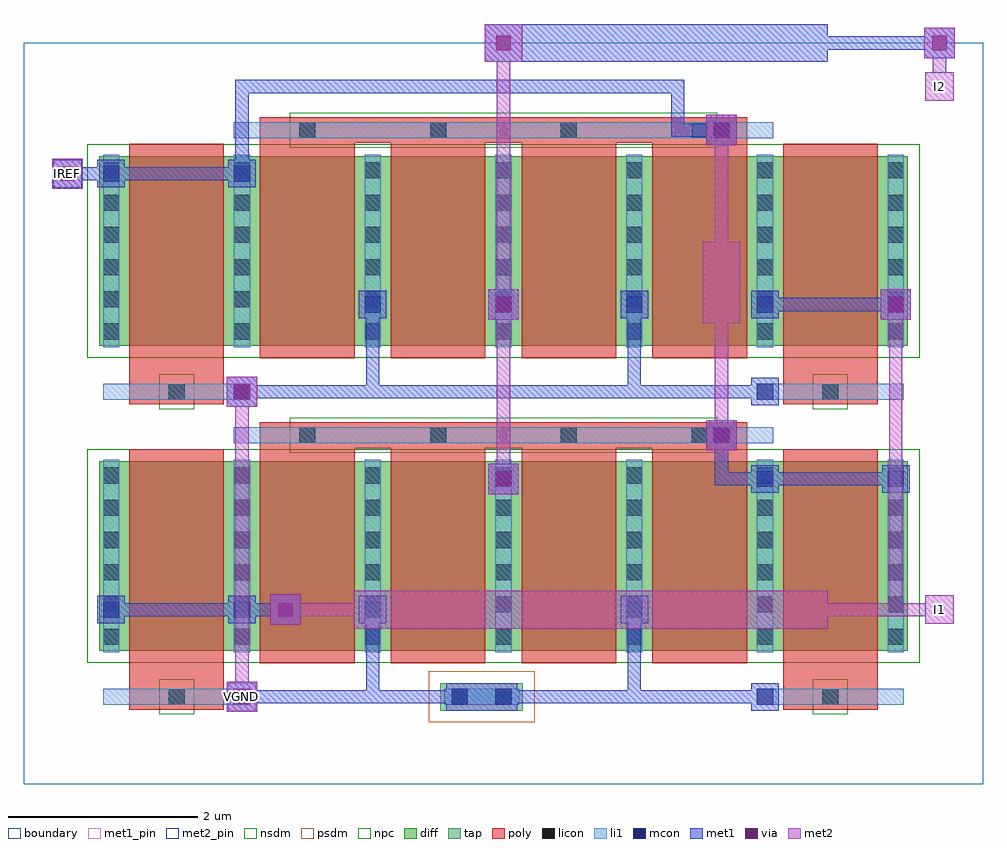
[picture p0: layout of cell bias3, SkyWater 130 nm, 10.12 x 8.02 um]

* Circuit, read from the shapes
.subckt bias3 I1 I2 IREF VGND
XM1 I1 VGND I1 VGND sky130_fd_pr__nfet_01v8 w=2 l=1 m=2
XM2 IREF VGND IREF VGND sky130_fd_pr__nfet_01v8 w=2 l=1 m=2
XM3 VGND IREF I1 VGND sky130_fd_pr__nfet_01v8 w=2 l=1 m=2
XM4 VGND IREF IREF VGND sky130_fd_pr__nfet_01v8 w=2 l=1 m=2
XM5 I2 IREF VGND VGND sky130_fd_pr__nfet_01v8 w=2 l=1 m=4
.ends

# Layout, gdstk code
import gdstk
lib = gdstk.Library(unit=1e-6, precision=1e-09)
def R(c, l, rs):  # rectangles x0, y0, x1, y1
    for r in rs: c.add(gdstk.rectangle(r[:2], r[2:], *l))
def A(c, l, x, y, w, h, nx, ny, dx, dy):  # array of equal rectangles
    R(c, l, [(x+i*dx, y+j*dy, x+i*dx+w, y+j*dy+h) for i in range(nx) for j in range(ny)])
diff = (65, 20)
tap = (65, 44)
poly = (66, 20)
licon = (66, 44)
li1 = (67, 20)
mcon = (67, 44)
met1_pin = (68, 16)
met1 = (68, 20)
via = (68, 44)
met2_pin = (69, 16)
met2 = (69, 20)
nsdm = (93, 44)
psdm = (94, 20)
npc = (95, 20)
boundary = (235, 4)

bias3 = lib.new_cell('bias3')
R(bias3, diff, [(0.795,1.405,9.325,3.405), (0.795,4.625,9.325,6.625)])
R(bias3, tap, [(4.395,0.775,5.265,1.065)])
A(bias3, poly, 2.49, 1.275, 1, 2.405, 4, 2, 1.38, 3.22)
R(bias3, poly, [(1.11,0.785,2.11,1.055), (8.01,0.785,9.01,1.055), (1.11,0.92,2.11,3.535), (8.01,0.92,9.01,3.535), (2.49,3.545,7.63,3.815), (1.11,4.005,2.11,4.275), (8.01,4.005,9.01,4.275), (1.11,4.14,2.11,6.755), (8.01,4.14,9.01,6.755), (2.49,6.765,7.63,7.035)])
A(bias3, licon, 0.835, 1.47, 0.17, 0.17, 7, 6, 1.38, 0.34)
A(bias3, licon, 2.905, 3.595, 0.17, 0.17, 4, 2, 1.38, 3.22)
A(bias3, licon, 0.835, 4.69, 0.17, 0.17, 7, 6, 1.38, 0.34)
R(bias3, licon, [(1.525,0.835,1.695,1.005), (4.515,0.835,4.685,1.005), (4.975,0.835,5.145,1.005), (8.425,0.835,8.595,1.005), (1.525,4.055,1.695,4.225), (8.425,4.055,8.595,4.225)])
A(bias3, li1, 0.835, 1.39, 0.17, 2.03, 7, 2, 1.38, 3.22)
R(bias3, li1, [(0.835,0.835,2.385,1.005), (4.435,0.835,5.225,1.005), (7.735,0.835,9.285,1.005), (2.215,3.595,7.905,3.765), (0.835,4.055,2.385,4.225), (7.735,4.055,9.285,4.225), (2.215,6.815,7.905,6.985)])
A(bias3, mcon, 0.835, 1.755, 0.17, 0.17, 3, 1, 1.38, 0)
A(bias3, mcon, 3.595, 4.975, 0.17, 0.17, 5, 1, 1.38, 0)
R(bias3, mcon, [(2.215,0.835,2.385,1.005), (4.515,0.835,4.685,1.005), (4.975,0.835,5.145,1.005), (7.735,0.835,7.905,1.005), (6.355,1.755,6.525,1.925), (4.975,3.135,5.145,3.305), (7.735,3.135,7.905,3.305), (9.115,3.135,9.285,3.305), (7.275,3.595,7.445,3.765), (2.215,4.055,2.385,4.225), (7.735,4.055,7.905,4.225), (0.835,6.355,1.005,6.525), (2.215,6.355,2.385,6.525), (7.275,6.815,7.445,6.985)])
R(bias3, met1_pin, [(2.155,0.775,2.445,1.065)])
A(bias3, met1, 0.775, 1.695, 0.29, 0.29, 3, 1, 1.38, 0)
A(bias3, met1, 3.535, 4.915, 0.29, 0.29, 5, 1, 1.38, 0)
R(bias3, met1, [(2.14,0.76,2.46,1.08), (2.155,0.775,2.445,1.065), (4.455,0.775,5.205,1.065), (7.675,0.775,7.965,1.065), (2.23,0.85,3.75,0.99), (3.61,0.85,3.75,1.91), (3.61,0.85,4.67,0.99), (4.53,0.85,4.67,0.99), (4.53,0.85,6.51,0.99), (6.37,0.85,7.89,0.99), (6.37,0.85,6.51,1.91), (2.6,1.68,2.92,2), (6.295,1.695,6.585,1.985), (0.85,1.77,2.37,1.91), (2.23,1.77,2.83,1.91), (4.9,3.06,5.22,3.38), (4.915,3.075,5.205,3.365), (7.675,3.075,7.965,3.365), (9.055,3.075,9.345,3.365), (7.29,3.15,7.89,3.29), (7.29,3.15,7.43,3.75), (7.75,3.15,9.27,3.29), (7.2,3.52,7.52,3.84), (7.215,3.535,7.505,3.825), (2.14,3.98,2.46,4.3), (2.155,3.995,2.445,4.285), (7.675,3.995,7.965,4.285), (2.23,4.07,3.75,4.21), (3.61,4.07,3.75,5.13), (3.61,4.07,6.51,4.21), (6.37,4.07,7.89,4.21), (6.37,4.07,6.51,5.13), (4.9,4.9,5.22,5.22), (9.04,4.9,9.36,5.22), (7.75,4.99,9.27,5.13), (0.3,6.28,0.62,6.6), (0.775,6.295,1.065,6.585), (2.155,6.295,2.445,6.585), (0.39,6.37,0.99,6.51), (0.85,6.37,2.37,6.51), (2.23,6.37,2.37,7.43), (7.2,6.74,7.52,7.06), (7.215,6.755,7.505,7.045), (6.83,6.83,7.43,6.97), (6.83,6.83,6.97,7.43), (2.23,7.29,6.97,7.43), (4.86,7.62,5.26,8.02), (4.86,7.62,8.48,8.02), (9.5,7.66,9.82,7.98), (8.21,7.75,9.73,7.89)])
R(bias3, via, [(2.225,0.845,2.375,0.995), (2.685,1.765,2.835,1.915), (4.985,3.145,5.135,3.295), (7.285,3.605,7.435,3.755), (2.225,4.065,2.375,4.215), (4.985,4.985,5.135,5.135), (9.125,4.985,9.275,5.135), (0.385,6.365,0.535,6.515), (7.285,6.825,7.435,6.975), (4.985,7.745,5.135,7.895), (9.585,7.745,9.735,7.895)])
R(bias3, met2_pin, [(9.51,1.69,9.81,1.99), (0.31,6.29,0.61,6.59), (9.51,7.21,9.81,7.51)])
R(bias3, met2, [(2.14,0.76,2.46,1.08), (2.23,0.85,2.37,4.21), (3.48,1.64,8.48,2.04), (2.6,1.68,2.92,2), (9.51,1.69,9.81,1.99), (2.69,1.77,3.75,1.91), (8.21,1.77,9.73,1.91), (9.13,1.77,9.27,5.13), (9.59,1.77,9.73,1.91), (4.9,3.06,5.22,3.38), (4.99,3.15,5.13,5.13), (7.2,3.52,7.52,3.84), (7.29,3.61,7.43,5.13), (2.14,3.98,2.46,4.3), (7.16,4.86,7.56,5.72), (4.9,4.9,5.22,5.22), (9.04,4.9,9.36,5.22), (4.99,4.99,5.13,7.89), (7.29,5.45,7.43,6.97), (0.3,6.28,0.62,6.6), (0.31,6.29,0.61,6.59), (0.39,6.37,0.53,6.51), (7.2,6.74,7.52,7.06), (9.51,7.21,9.81,7.51), (9.59,7.29,9.73,7.43), (9.59,7.29,9.73,7.89), (4.86,7.62,5.26,8.02), (9.5,7.66,9.82,7.98)])
R(bias3, nsdm, [(0.67,1.28,9.45,3.53), (0.67,4.5,9.45,6.75)])
R(bias3, psdm, [(4.27,0.65,5.39,1.19)])
R(bias3, npc, [(1.425,0.735,1.795,1.105), (8.325,0.735,8.695,1.105), (2.805,3.495,7.315,3.865), (1.425,3.955,1.795,4.325), (8.325,3.955,8.695,4.325), (2.805,6.715,7.315,7.085)])
R(bias3, boundary, [(0,0,10.12,7.82)])
bias3.add(gdstk.Label('VGND', (2.3,0.92), layer=68, texttype=5))
bias3.add(gdstk.Label('IREF', (0.46,6.44), layer=69, texttype=5))
bias3.add(gdstk.Label('I1', (9.66,1.84), layer=69, texttype=5))
bias3.add(gdstk.Label('I2', (9.66,7.36), layer=69, texttype=5))
bias3.add(gdstk.Label('VGND', (2.3,0.92), layer=68, texttype=16))
bias3.add(gdstk.Label('IREF', (0.46,6.44), layer=69, texttype=16))
bias3.add(gdstk.Label('I1', (9.66,1.84), layer=69, texttype=16))
bias3.add(gdstk.Label('I2', (9.66,7.36), layer=69, texttype=16))

lib.write_gds('bias3.gds')
